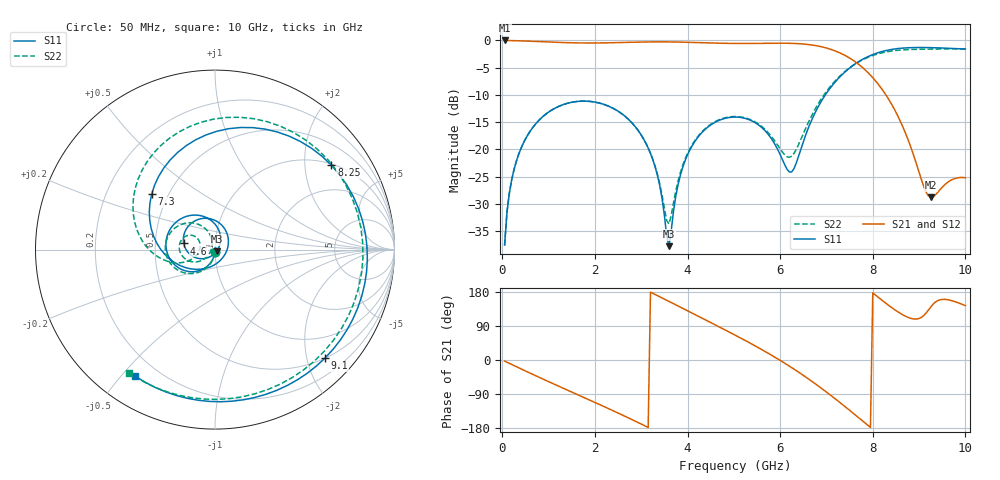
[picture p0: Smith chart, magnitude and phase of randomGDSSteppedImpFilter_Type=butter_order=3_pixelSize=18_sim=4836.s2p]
! freq	dB(S11)	phase(S11)	dB(S12)	phase(S12)
!  dB(S21)	phase(S21)	dB(S22)	phase(S22)
!S-par simulation data
#  GHz  S  DB  R 50
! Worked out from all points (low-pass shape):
!   200 points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, 50 MHz to 10 GHz, reference 50 ohm
!   highest |S21| = -0.01 dB at 50 MHz (marker M1); lowest = -28.8 dB at 9.25 GHz (marker M2)
!   |S21| within 3 dB of the highest: start of sweep to 7.454 GHz
!   lowest |S11| = -37.8 dB at 3.6 GHz (marker M3), VSWR 1.03, Z = 50.9 - j0.909 ohm
!   |S11| at or under -10 dB: start of sweep to 6.976 GHz
!   |S22| runs from -37.6 to -1.5 dB; largest |S21 - S12| = 0
!   S11 on the Smith chart (normalised r, x): 50 MHz: 1.00, -0.03; 4.6 GHz: 0.70, +0.05; 7.3 GHz: 0.41, +0.32; 8.25 GHz: 1.04, +2.73; 9.1 GHz: 0.50, -2.35; 10 GHz: 0.12, -0.55
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0.05  -37.60 -92.3  -0.01 -3.0  -0.01 -3.0  -37.60 -92.1
0.2  -25.72 -102.2  -0.03 -11.7  -0.03 -11.7  -25.71 -101.1
0.5  -18.11 -120.7  -0.11 -28.9  -0.11 -28.9  -18.11 -117.9
1.15  -12.39 -159.3  -0.34 -65.4  -0.34 -65.4  -12.39 -152.6
1.75  -11.14 165.9  -0.47 -98.2  -0.47 -98.2  -11.14 176.8
2.8  -15.15 101.5  -0.34 -157.2  -0.34 -157.2  -15.15 124.9
3.4  -26.66 51.3  -0.26 166.9  -0.26 166.9  -26.35 110.4
3.6  -37.79 -43.8  -0.27 154.6  -0.27 154.6  -33.71 172.5
3.95  -22.03 -140.7  -0.33 133.0  -0.33 133.0  -21.72 -139.1
4.6  -15.01 168.9  -0.49 92.6  -0.49 92.6  -14.90 -165.6
5.05  -14.08 134.9  -0.56 64.2  -0.56 64.2  -13.99 172.9
5.7  -16.82 76.5  -0.52 20.8  -0.52 20.8  -16.57 147.8
6.2  -24.17 -24.0  -0.53 -16.2  -0.53 -16.2  -21.47 173.2
6.7  -14.26 -148.9  -0.86 -57.6  -0.86 -57.6  -13.49 -159.6
7.3  -6.59 138.9  -2.33 -113.1  -2.33 -113.1  -6.46 160.7
7.8  -3.38 83.6  -5.14 -162.8  -5.14 -162.8  -3.48 112.3
8.25  -1.93 36.0  -9.58 152.8  -9.58 152.8  -2.18 62.0
8.35  -1.74 25.8  -10.91 143.5  -10.91 143.5  -2.02 50.3
8.75  -1.35 -12.9  -17.97 113.1  -17.97 113.1  -1.68 2.8
9.1  -1.30 -44.6  -26.80 117.3  -26.80 117.3  -1.61 -37.4
9.25  -1.32 -57.7  -28.81 139.9  -28.81 139.9  -1.59 -53.8
10  -1.59 -122.3  -25.22 143.5  -25.22 143.5  -1.54 -125.0
